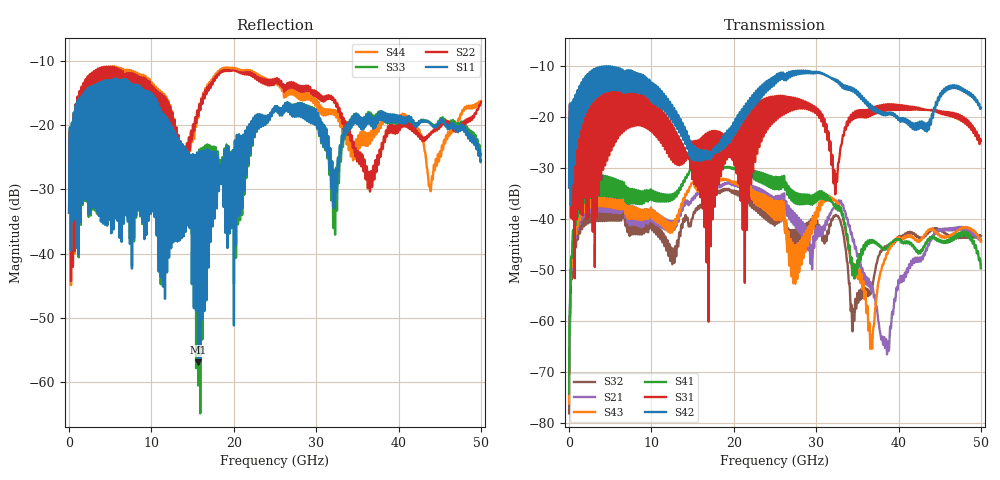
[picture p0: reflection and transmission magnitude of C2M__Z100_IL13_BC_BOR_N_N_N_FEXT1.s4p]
# GHz S MA R 50
! S-Parameters data
! Freq  magS11  angS11  magS12  angS12  magS13  angS13  magS14  angS14
!  magS21  angS21  magS22  angS22  magS23  angS23  magS24  angS24
!  magS31  angS31  magS32  angS32  magS33  angS33  magS34  angS34
!  magS41  angS41  magS42  angS42  magS43  angS43  magS44  angS44
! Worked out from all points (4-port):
!   5000 points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, 10 MHz to 50 GHz, reference 50 ohm
!   strongest paths, dB at 10 MHz, 12.51 GHz, 25.01 GHz, 37.51 GHz, 50 GHz:
!     S42: -33.8, -17.6, -12.1, -18.8, -18.2
!     S31: -33.9, -21.6, -16.8, -18.5, -24.7
!     S41: -74.1, -36.2, -33.9, -45.0, -49.7
!     S43: -76.1, -42.6, -39.3, -52.8, -44.5
!     S21: -76.0, -42.1, -38.4, -59.6, -44.2
!     S32: -78.0, -48.3, -40.7, -47.5, -43.3
!   lowest |S11| = -57.0 dB at 15.67 GHz (marker M1), VSWR 1.00, Z = 50 + j0.135 ohm
!   |S11| at or under -10 dB: start of sweep to end of sweep
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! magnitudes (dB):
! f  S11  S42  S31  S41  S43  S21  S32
! 10 MHz  -33.6  -33.8  -33.9  -74.1  -76.1  -76.0  -78.0
! 1.93 GHz  -21.5  -16.8  -20.2  -32.8  -34.8  -34.8  -36.8
! 15.67 GHz  -57.0  -27.7  -30.4  -31.6  -34.2  -34.7  -37.5
! 32.96 GHz  -24.0  -13.9  -26.0  -37.9  -38.0  -36.5  -40.5
! 36.61 GHz  -18.6  -18.0  -19.6  -44.6  -64.8  -52.3  -54.6
! 38.61 GHz  -18.7  -19.4  -18.3  -45.5  -46.9  -66.5  -45.4
! 50 GHz  -25.4  -18.2  -24.7  -49.7  -44.5  -44.2  -43.3
